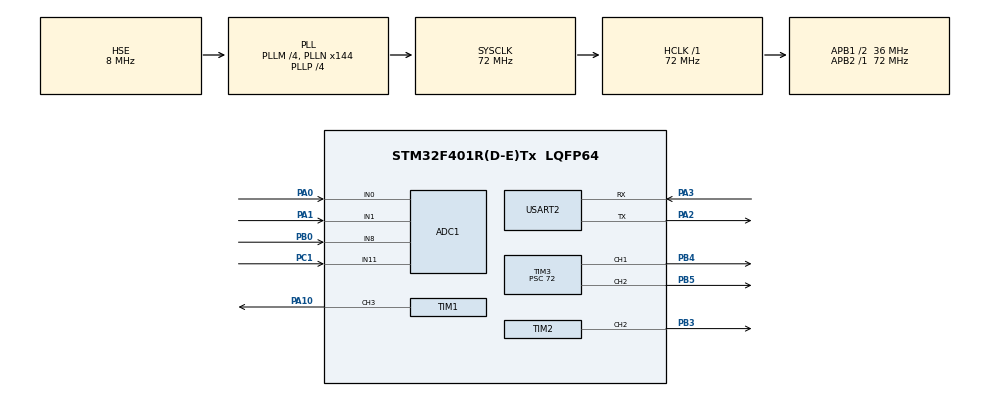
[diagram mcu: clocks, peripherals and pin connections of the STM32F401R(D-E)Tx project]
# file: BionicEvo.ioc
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ADC1.Channel-0\#ChannelRegularConversion=ADC_CHANNEL_0
ADC1.Channel-1\#ChannelRegularConversion=ADC_CHANNEL_1
ADC1.Channel-2\#ChannelRegularConversion=ADC_CHANNEL_8
ADC1.Channel-3\#ChannelRegularConversion=ADC_CHANNEL_11
ADC1.ContinuousConvMode=DISABLE
ADC1.NbrOfConversion=4
ADC1.NbrOfConversionFlag=1
ADC1.Rank-0\#ChannelRegularConversion=1
ADC1.Rank-1\#ChannelRegularConversion=2
ADC1.Rank-2\#ChannelRegularConversion=3
ADC1.Rank-3\#ChannelRegularConversion=4
ADC1.SamplingTime-0\#ChannelRegularConversion=ADC_SAMPLETIME_480CYCLES
ADC1.SamplingTime-1\#ChannelRegularConversion=ADC_SAMPLETIME_480CYCLES
ADC1.SamplingTime-2\#ChannelRegularConversion=ADC_SAMPLETIME_480CYCLES
ADC1.SamplingTime-3\#ChannelRegularConversion=ADC_SAMPLETIME_480CYCLES
ADC1.ScanConvMode=ENABLE
ADC1.master=1
Dma.ADC1.0.Direction=DMA_PERIPH_TO_MEMORY
Dma.ADC1.0.FIFOMode=DMA_FIFOMODE_DISABLE
Dma.ADC1.0.Instance=DMA2_Stream0
Dma.ADC1.0.MemDataAlignment=DMA_MDATAALIGN_HALFWORD
Dma.ADC1.0.MemInc=DMA_MINC_ENABLE
Dma.ADC1.0.Mode=DMA_CIRCULAR
Dma.ADC1.0.PeriphDataAlignment=DMA_PDATAALIGN_HALFWORD
Dma.ADC1.0.PeriphInc=DMA_PINC_DISABLE
Dma.ADC1.0.Priority=DMA_PRIORITY_LOW
Dma.Request0=ADC1
Mcu.Family=STM32F4
Mcu.Name=STM32F401R(D-E)Tx
Mcu.Package=LQFP64
NVIC.ADC_IRQn=true\:1\:0\:true\:false\:true\:true\:true\:true
NVIC.DMA2_Stream0_IRQn=true\:0\:0\:false\:false\:true\:false\:true\:true
NVIC.PriorityGroup=NVIC_PRIORITYGROUP_4
PA0-WKUP.Signal=ADCx_IN0
PA1.Signal=ADCx_IN1
PA10.Signal=S_TIM1_CH3
PA13.Mode=Serial_Wire
PA13.Signal=SYS_JTMS-SWDIO
PA14.Mode=Serial_Wire
PA14.Signal=SYS_JTCK-SWCLK
PA2.Mode=Asynchronous
PA2.Signal=USART2_TX
PA3.Mode=Asynchronous
PA3.Signal=USART2_RX
PB0.Signal=ADCx_IN8
PB3.Signal=S_TIM2_CH2
PB4.Signal=S_TIM3_CH1
PB5.Signal=S_TIM3_CH2
PC1.Signal=ADCx_IN11
PH0\ -\ OSC_IN.Mode=HSE-External-Oscillator
PH0\ -\ OSC_IN.Signal=RCC_OSC_IN
PH1\ -\ OSC_OUT.Mode=HSE-External-Oscillator
PH1\ -\ OSC_OUT.Signal=RCC_OSC_OUT
ProjectManager.HeapSize=0x200
ProjectManager.StackSize=0x400
ProjectManager.TargetToolchain=STM32CubeIDE
RCC.48MHZClocksFreq_Value=72000000
RCC.AHBFreq_Value=72000000
RCC.APB1CLKDivider=RCC_HCLK_DIV2
RCC.APB1Freq_Value=36000000
RCC.APB1TimFreq_Value=72000000
RCC.APB2Freq_Value=72000000
RCC.APB2TimFreq_Value=72000000
RCC.CortexFreq_Value=72000000
RCC.HCLKFreq_Value=72000000
RCC.HSE_VALUE=8000000
RCC.HSI_VALUE=16000000
RCC.LSE_VALUE=32768
RCC.PLLM=4
RCC.PLLN=144
RCC.PLLP=RCC_PLLP_DIV4
RCC.PLLSourceVirtual=RCC_PLLSOURCE_HSE
RCC.SYSCLKFreq_VALUE=72000000
RCC.SYSCLKSource=RCC_SYSCLKSOURCE_PLLCLK
RCC.VCOOutputFreq_Value=288000000
SH.ADCx_IN0.0=ADC1_IN0,IN0
SH.ADCx_IN1.0=ADC1_IN1,IN1
SH.ADCx_IN11.0=ADC1_IN11,IN11
SH.ADCx_IN8.0=ADC1_IN8,IN8
SH.S_TIM1_CH3.0=TIM1_CH3,PWM Generation3 CH3
SH.S_TIM2_CH2.0=TIM2_CH2,PWM Generation2 CH2
SH.S_TIM3_CH1.0=TIM3_CH1,PWM Generation1 CH1
SH.S_TIM3_CH2.0=TIM3_CH2,PWM Generation2 CH2
TIM1.AutoReloadPreload=TIM_AUTORELOAD_PRELOAD_ENABLE
TIM1.Channel-PWM\ Generation3\ CH3=TIM_CHANNEL_3
TIM1.Period=20000
TIM1.Prescaler=72
TIM2.AutoReloadPreload=TIM_AUTORELOAD_PRELOAD_ENABLE
TIM2.Channel-PWM\ Generation2\ CH2=TIM_CHANNEL_2
TIM2.Period=20000
TIM2.Prescaler=72
TIM3.AutoReloadPreload=TIM_AUTORELOAD_PRELOAD_ENABLE
TIM3.Channel-PWM\ Generation1\ CH1=TIM_CHANNEL_1
TIM3.Channel-PWM\ Generation2\ CH2=TIM_CHANNEL_2
TIM3.Period=20000
TIM3.Prescaler=72
USART2.VirtualMode=VM_ASYNC
VP_TIM1_VS_ClockSourceINT.Mode=Internal
VP_TIM2_VS_ClockSourceINT.Mode=Internal
VP_TIM3_VS_ClockSourceINT.Mode=Internal
board=custom

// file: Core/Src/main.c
/* USER CODE BEGIN Header */
/**
  ******************************************************************************
  * @file           : main.c
  * @brief          : Main program body
  ******************************************************************************
  * @attention
  *
  * Copyright (c) 2023 STMicroelectronics.
  * All rights reserved.
  *
  * This software is licensed under terms that can be found in the LICENSE file
  * in the root directory of this software component.
  * If no LICENSE file comes with this software, it is provided AS-IS.
  *
  ******************************************************************************
  */
/* USER CODE END Header */
#include "main.h"

/* USER CODE BEGIN Includes */
#include <stdio.h>
#include <string.h>
#include <stdbool.h>
/* USER CODE END Includes */

/* USER CODE BEGIN PD */
#define ADC_SIZE 4
#define NUM_PAST_VAL 10
/* USER CODE END PD */

ADC_HandleTypeDef hadc1;
DMA_HandleTypeDef hdma_adc1;

TIM_HandleTypeDef htim1;
TIM_HandleTypeDef htim2;
TIM_HandleTypeDef htim3;

UART_HandleTypeDef huart2;

/* USER CODE BEGIN PV */
const uint16_t BASE = 500;
const uint16_t INC = (2400 - BASE)/180;
uint16_t rawValues[ADC_SIZE];
uint16_t pastValues[ADC_SIZE][NUM_PAST_VAL];
char msg[64];
/* USER CODE END PV */

void SystemClock_Config(void);
static void MX_GPIO_Init(void);
static void MX_DMA_Init(void);
static void MX_TIM2_Init(void);
static void MX_TIM1_Init(void);
static void MX_TIM3_Init(void);
static void MX_ADC1_Init(void);
static void MX_USART2_UART_Init(void);
/* USER CODE BEGIN PFP */
uint8_t pot_serv_map(uint16_t);
uint16_t serv_angle(uint8_t);
void push_front(uint16_t[ADC_SIZE][NUM_PAST_VAL],uint16_t[ADC_SIZE],size_t,size_t);
void run(void);
void test(uint8_t);
void peace_sign();
/* USER CODE END PFP */

/* USER CODE BEGIN 0 */

/*
 * Callback override for HAL_ADC
 * Tells program that ADC conversion is complete
 */
bool convCompleted = 0;
void HAL_ADC_ConvCpltCallback(ADC_HandleTypeDef* hadc) {
	convCompleted = 1;
}

/*
 * @brief Maps potentiometer value (0-4095) to servo angle (0-180)
 * @param val potentiometer value
 * @retval int Servo angle
 */
uint8_t pot_serv_map(uint16_t val) {
	return val/4095.0*180;
}

/*
 * @brief Takes in an angle and returns a PWM vaue, Restricts angles to 0-180 for this use case
 * @param angle Desired servo angle
 * @retval int PWM value
 */
uint16_t serv_angle(uint8_t angle) {
	if (angle > 180) {
		angle = 180;
	} else if (angle < 40) {
		angle = 40;
	}

	return BASE + INC*angle;
}

/*
 * @brief Pushes values to front of array
 * @param arr The array to push to
 * @param val The array vals to push
 * @param size1 The first array size
 * @param size2 The second array size
 */
void push_front(uint16_t arr[ADC_SIZE][NUM_PAST_VAL], uint16_t val[ADC_SIZE], size_t size1, size_t size2) {
	for (size_t i = 0; i < ADC_SIZE; ++i) {
		for (size_t j = NUM_PAST_VAL-1; j > 0; --j) {
			arr[i][j] = arr[i][j-1];
		}
		arr[i][0] = val[i];
	}
}

void peace_sign() {
	__HAL_TIM_SET_COMPARE(&htim1,TIM_CHANNEL_3, serv_angle(180));
	__HAL_TIM_SET_COMPARE(&htim2,TIM_CHANNEL_2, serv_angle(0));
	__HAL_TIM_SET_COMPARE(&htim3,TIM_CHANNEL_2, serv_angle(0));
	__HAL_TIM_SET_COMPARE(&htim3,TIM_CHANNEL_1, serv_angle(180));
	HAL_Delay(2000);
}

/*
 * Testing function for demo tests
 */
void test(uint8_t runtime) {
	for (uint8_t i = 0; i < runtime; ++i) {
		__HAL_TIM_SET_COMPARE(&htim1,TIM_CHANNEL_3, serv_angle(0));
		__HAL_TIM_SET_COMPARE(&htim2,TIM_CHANNEL_2, serv_angle(0));
		__HAL_TIM_SET_COMPARE(&htim3,TIM_CHANNEL_2, serv_angle(0));
		__HAL_TIM_SET_COMPARE(&htim3,TIM_CHANNEL_1, serv_angle(0));
		HAL_Delay(1000);
		__HAL_TIM_SET_COMPARE(&htim1,TIM_CHANNEL_3, serv_angle(180));
		__HAL_TIM_SET_COMPARE(&htim2,TIM_CHANNEL_2, serv_angle(180));
		__HAL_TIM_SET_COMPARE(&htim3,TIM_CHANNEL_2, serv_angle(180));
		__HAL_TIM_SET_COMPARE(&htim3,TIM_CHANNEL_1, serv_angle(180));
		HAL_Delay(1000);
	}
}

/*
 * Main run function
 */
void run(void) {
	HAL_ADC_Start_DMA(&hadc1,(uint32_t *) rawValues, ADC_SIZE);
	while (!convCompleted);

	push_front(pastValues,rawValues,NUM_PAST_VAL,ADC_SIZE);

	uint16_t s[ADC_SIZE][2];
	for (uint8_t j = 0; j < ADC_SIZE; ++j) {
		for (uint8_t i = 0; i < 5; ++i) {
			s[j][0] += pastValues[j][i];
			s[j][1] += pastValues[j][i+5];
		}
		s[j][0] /= 5;
		s[j][1] /= 5;
	}

	if (s[0][1] - s[0][0] <= -69 && s[2][1] - s[2][0] <= -69) {
		peace_sign();
		for (uint8_t j = 0; j < NUM_PAST_VAL; ++j) {
			push_front(pastValues,rawValues,NUM_PAST_VAL,ADC_SIZE);
		}
	}

	__HAL_TIM_SET_COMPARE(&htim1,TIM_CHANNEL_3,serv_angle(pot_serv_map(rawValues[0])));
	__HAL_TIM_SET_COMPARE(&htim2,TIM_CHANNEL_2,serv_angle(pot_serv_map(rawValues[1])));
  	__HAL_TIM_SET_COMPARE(&htim3,TIM_CHANNEL_2,serv_angle(pot_serv_map(rawValues[2])));
  	__HAL_TIM_SET_COMPARE(&htim3,TIM_CHANNEL_1,serv_angle(pot_serv_map(rawValues[3])));

  	sprintf(msg,"%d %d %d %d\r\n", pastValues[0][0], pastValues[1][0], pastValues[2][0], pastValues[3][0]);
  	HAL_UART_Transmit(&huart2, (uint8_t *)msg, strlen(msg), HAL_MAX_DELAY);
  	HAL_Delay(100);
}

/*
 * Set all servos to the same angle
 */
void set_all_servs(uint8_t angle) {
	__HAL_TIM_SET_COMPARE(&htim1,TIM_CHANNEL_3,serv_angle(angle));
	__HAL_TIM_SET_COMPARE(&htim2,TIM_CHANNEL_2,serv_angle(angle));
	__HAL_TIM_SET_COMPARE(&htim3,TIM_CHANNEL_2,serv_angle(angle));
	__HAL_TIM_SET_COMPARE(&htim3,TIM_CHANNEL_1,serv_angle(angle));
}
/* USER CODE END 0 */

int main(void)
{

  /* MCU Configuration--------------------------------------------------------*/

  /* Reset of all peripherals, Initializes the Flash interface and the Systick. */
  HAL_Init();

  /* Configure the system clock */
  SystemClock_Config();

  /* Initialize all configured peripherals */
  MX_GPIO_Init();
  MX_DMA_Init();
  MX_TIM2_Init();
  MX_TIM1_Init();
  MX_TIM3_Init();
  MX_ADC1_Init();
  MX_USART2_UART_Init();
  /* USER CODE BEGIN 2 */

  sprintf(msg,"ADC1 INIT: Success\r\n");
  HAL_UART_Transmit(&huart2, (uint8_t *)msg, strlen(msg), HAL_MAX_DELAY);

  HAL_TIM_PWM_Start(&htim1, TIM_CHANNEL_3);
  sprintf(msg,"TIMER1, CHANNEL 3 PWM INIT: Success\r\n");
  HAL_UART_Transmit(&huart2, (uint8_t *)msg, strlen(msg), HAL_MAX_DELAY);

  HAL_TIM_PWM_Start(&htim2, TIM_CHANNEL_2);
  sprintf(msg,"TIMER2, CHANNEL 2 PWM INIT: Success\r\n");
  HAL_UART_Transmit(&huart2, (uint8_t *)msg, strlen(msg), HAL_MAX_DELAY);

  HAL_TIM_PWM_Start(&htim3, TIM_CHANNEL_2);
  sprintf(msg,"TIMER3, CHANNEL 2 PWM INIT: Success\r\n");
  HAL_UART_Transmit(&huart2, (uint8_t *)msg, strlen(msg), HAL_MAX_DELAY);

  HAL_TIM_PWM_Start(&htim3, TIM_CHANNEL_1);
  sprintf(msg,"TIMER3, CHANNEL 1 PWM INIT: Success\r\n");
  HAL_UART_Transmit(&huart2, (uint8_t *)msg, strlen(msg), HAL_MAX_DELAY);

  HAL_ADC_Start_DMA(&hadc1,(uint32_t *) rawValues, ADC_SIZE);
  for (uint8_t i = 0; i < NUM_PAST_VAL; ++i) {
	  push_front(pastValues,rawValues,NUM_PAST_VAL,ADC_SIZE);
  }
  sprintf(msg,"ADC INIT: Success\r\n");
  HAL_UART_Transmit(&huart2, (uint8_t *)msg, strlen(msg), HAL_MAX_DELAY);

  set_all_servs(180);
  /* USER CODE END 2 */

  /* Infinite loop */
  while (1) {

    /* USER CODE BEGIN 3 */
	  run();
//	  test(100);
//	  set_all_servs(0);
  }
  /* USER CODE END 3 */
}

void SystemClock_Config(void)
{
  RCC_OscInitTypeDef RCC_OscInitStruct = {0};
  RCC_ClkInitTypeDef RCC_ClkInitStruct = {0};

  /** Configure the main internal regulator output voltage
  */
  __HAL_RCC_PWR_CLK_ENABLE();
  __HAL_PWR_VOLTAGESCALING_CONFIG(PWR_REGULATOR_VOLTAGE_SCALE2);

  /** Initializes the RCC Oscillators according to the specified parameters
  * in the RCC_OscInitTypeDef structure.
  */
  RCC_OscInitStruct.OscillatorType = RCC_OSCILLATORTYPE_HSE;
  RCC_OscInitStruct.HSEState = RCC_HSE_ON;
  RCC_OscInitStruct.PLL.PLLState = RCC_PLL_ON;
  RCC_OscInitStruct.PLL.PLLSource = RCC_PLLSOURCE_HSE;
  RCC_OscInitStruct.PLL.PLLM = 4;
  RCC_OscInitStruct.PLL.PLLN = 144;
  RCC_OscInitStruct.PLL.PLLP = RCC_PLLP_DIV4;
  RCC_OscInitStruct.PLL.PLLQ = 4;
  if (HAL_RCC_OscConfig(&RCC_OscInitStruct) != HAL_OK)
  {
    Error_Handler();
  }

  /** Initializes the CPU, AHB and APB buses clocks
  */
  RCC_ClkInitStruct.ClockType = RCC_CLOCKTYPE_HCLK|RCC_CLOCKTYPE_SYSCLK
                              |RCC_CLOCKTYPE_PCLK1|RCC_CLOCKTYPE_PCLK2;
  RCC_ClkInitStruct.SYSCLKSource = RCC_SYSCLKSOURCE_PLLCLK;
  RCC_ClkInitStruct.AHBCLKDivider = RCC_SYSCLK_DIV1;
  RCC_ClkInitStruct.APB1CLKDivider = RCC_HCLK_DIV2;
  RCC_ClkInitStruct.APB2CLKDivider = RCC_HCLK_DIV1;

  if (HAL_RCC_ClockConfig(&RCC_ClkInitStruct, FLASH_LATENCY_2) != HAL_OK)
  {
    Error_Handler();
  }
}

static void MX_ADC1_Init(void)
{

  ADC_ChannelConfTypeDef sConfig = {0};

  /** Configure the global features of the ADC (Clock, Resolution, Data Alignment and number of conversion)
  */
  hadc1.Instance = ADC1;
  hadc1.Init.ClockPrescaler = ADC_CLOCK_SYNC_PCLK_DIV2;
  hadc1.Init.Resolution = ADC_RESOLUTION_12B;
  hadc1.Init.ScanConvMode = ENABLE;
  hadc1.Init.ContinuousConvMode = DISABLE;
  hadc1.Init.DiscontinuousConvMode = DISABLE;
  hadc1.Init.ExternalTrigConvEdge = ADC_EXTERNALTRIGCONVEDGE_NONE;
  hadc1.Init.ExternalTrigConv = ADC_SOFTWARE_START;
  hadc1.Init.DataAlign = ADC_DATAALIGN_RIGHT;
  hadc1.Init.NbrOfConversion = 4;
  hadc1.Init.DMAContinuousRequests = DISABLE;
  hadc1.Init.EOCSelection = ADC_EOC_SINGLE_CONV;
  if (HAL_ADC_Init(&hadc1) != HAL_OK)
  {
    Error_Handler();
  }

  /** Configure for the selected ADC regular channel its corresponding rank in the sequencer and its sample time.
  */
  sConfig.Channel = ADC_CHANNEL_0;
  sConfig.Rank = 1;
  sConfig.SamplingTime = ADC_SAMPLETIME_480CYCLES;
  if (HAL_ADC_ConfigChannel(&hadc1, &sConfig) != HAL_OK)
  {
    Error_Handler();
  }

  /** Configure for the selected ADC regular channel its corresponding rank in the sequencer and its sample time.
  */
  sConfig.Channel = ADC_CHANNEL_1;
  sConfig.Rank = 2;
  if (HAL_ADC_ConfigChannel(&hadc1, &sConfig) != HAL_OK)
  {
    Error_Handler();
  }

  /** Configure for the selected ADC regular channel its corresponding rank in the sequencer and its sample time.
  */
  sConfig.Channel = ADC_CHANNEL_8;
  sConfig.Rank = 3;
  if (HAL_ADC_ConfigChannel(&hadc1, &sConfig) != HAL_OK)
  {
    Error_Handler();
  }

  /** Configure for the selected ADC regular channel its corresponding rank in the sequencer and its sample time.
  */
  sConfig.Channel = ADC_CHANNEL_11;
  sConfig.Rank = 4;
  if (HAL_ADC_ConfigChannel(&hadc1, &sConfig) != HAL_OK)
  {
    Error_Handler();
  }

}

static void MX_TIM1_Init(void)
{

  TIM_ClockConfigTypeDef sClockSourceConfig = {0};
  TIM_MasterConfigTypeDef sMasterConfig = {0};
  TIM_OC_InitTypeDef sConfigOC = {0};
  TIM_BreakDeadTimeConfigTypeDef sBreakDeadTimeConfig = {0};

  htim1.Instance = TIM1;
  htim1.Init.Prescaler = 72;
  htim1.Init.CounterMode = TIM_COUNTERMODE_UP;
  htim1.Init.Period = 20000;
  htim1.Init.ClockDivision = TIM_CLOCKDIVISION_DIV1;
  htim1.Init.RepetitionCounter = 0;
  htim1.Init.AutoReloadPreload = TIM_AUTORELOAD_PRELOAD_ENABLE;
  if (HAL_TIM_Base_Init(&htim1) != HAL_OK)
  {
    Error_Handler();
  }
  sClockSourceConfig.ClockSource = TIM_CLOCKSOURCE_INTERNAL;
  if (HAL_TIM_ConfigClockSource(&htim1, &sClockSourceConfig) != HAL_OK)
  {
    Error_Handler();
  }
  if (HAL_TIM_PWM_Init(&htim1) != HAL_OK)
  {
    Error_Handler();
  }
  sMasterConfig.MasterOutputTrigger = TIM_TRGO_RESET;
  sMasterConfig.MasterSlaveMode = TIM_MASTERSLAVEMODE_DISABLE;
  if (HAL_TIMEx_MasterConfigSynchronization(&htim1, &sMasterConfig) != HAL_OK)
  {
    Error_Handler();
  }
  sConfigOC.OCMode = TIM_OCMODE_PWM1;
  sConfigOC.Pulse = 0;
  sConfigOC.OCPolarity = TIM_OCPOLARITY_HIGH;
  sConfigOC.OCNPolarity = TIM_OCNPOLARITY_HIGH;
  sConfigOC.OCFastMode = TIM_OCFAST_DISABLE;
  sConfigOC.OCIdleState = TIM_OCIDLESTATE_RESET;
  sConfigOC.OCNIdleState = TIM_OCNIDLESTATE_RESET;
  if (HAL_TIM_PWM_ConfigChannel(&htim1, &sConfigOC, TIM_CHANNEL_3) != HAL_OK)
  {
    Error_Handler();
  }
  sBreakDeadTimeConfig.OffStateRunMode = TIM_OSSR_DISABLE;
  sBreakDeadTimeConfig.OffStateIDLEMode = TIM_OSSI_DISABLE;
  sBreakDeadTimeConfig.LockLevel = TIM_LOCKLEVEL_OFF;
  sBreakDeadTimeConfig.DeadTime = 0;
  sBreakDeadTimeConfig.BreakState = TIM_BREAK_DISABLE;
  sBreakDeadTimeConfig.BreakPolarity = TIM_BREAKPOLARITY_HIGH;
  sBreakDeadTimeConfig.AutomaticOutput = TIM_AUTOMATICOUTPUT_DISABLE;
  if (HAL_TIMEx_ConfigBreakDeadTime(&htim1, &sBreakDeadTimeConfig) != HAL_OK)
  {
    Error_Handler();
  }
  HAL_TIM_MspPostInit(&htim1);

}

static void MX_TIM2_Init(void)
{

  TIM_ClockConfigTypeDef sClockSourceConfig = {0};
  TIM_MasterConfigTypeDef sMasterConfig = {0};
  TIM_OC_InitTypeDef sConfigOC = {0};

  htim2.Instance = TIM2;
  htim2.Init.Prescaler = 72;
  htim2.Init.CounterMode = TIM_COUNTERMODE_UP;
  htim2.Init.Period = 20000;
  htim2.Init.ClockDivision = TIM_CLOCKDIVISION_DIV1;
  htim2.Init.AutoReloadPreload = TIM_AUTORELOAD_PRELOAD_ENABLE;
  if (HAL_TIM_Base_Init(&htim2) != HAL_OK)
  {
    Error_Handler();
  }
  sClockSourceConfig.ClockSource = TIM_CLOCKSOURCE_INTERNAL;
  if (HAL_TIM_ConfigClockSource(&htim2, &sClockSourceConfig) != HAL_OK)
  {
    Error_Handler();
  }
  if (HAL_TIM_PWM_Init(&htim2) != HAL_OK)
  {
    Error_Handler();
  }
  sMasterConfig.MasterOutputTrigger = TIM_TRGO_RESET;
  sMasterConfig.MasterSlaveMode = TIM_MASTERSLAVEMODE_DISABLE;
  if (HAL_TIMEx_MasterConfigSynchronization(&htim2, &sMasterConfig) != HAL_OK)
  {
    Error_Handler();
  }
  sConfigOC.OCMode = TIM_OCMODE_PWM1;
  sConfigOC.Pulse = 0;
  sConfigOC.OCPolarity = TIM_OCPOLARITY_HIGH;
  sConfigOC.OCFastMode = TIM_OCFAST_DISABLE;
  if (HAL_TIM_PWM_ConfigChannel(&htim2, &sConfigOC, TIM_CHANNEL_2) != HAL_OK)
  {
    Error_Handler();
  }
  HAL_TIM_MspPostInit(&htim2);

}

static void MX_TIM3_Init(void)
{

  TIM_ClockConfigTypeDef sClockSourceConfig = {0};
  TIM_MasterConfigTypeDef sMasterConfig = {0};
  TIM_OC_InitTypeDef sConfigOC = {0};

  htim3.Instance = TIM3;
  htim3.Init.Prescaler = 72;
  htim3.Init.CounterMode = TIM_COUNTERMODE_UP;
  htim3.Init.Period = 20000;
  htim3.Init.ClockDivision = TIM_CLOCKDIVISION_DIV1;
  htim3.Init.AutoReloadPreload = TIM_AUTORELOAD_PRELOAD_ENABLE;
  if (HAL_TIM_Base_Init(&htim3) != HAL_OK)
  {
    Error_Handler();
  }
  sClockSourceConfig.ClockSource = TIM_CLOCKSOURCE_INTERNAL;
  if (HAL_TIM_ConfigClockSource(&htim3, &sClockSourceConfig) != HAL_OK)
  {
    Error_Handler();
  }
  if (HAL_TIM_PWM_Init(&htim3) != HAL_OK)
  {
    Error_Handler();
  }
  sMasterConfig.MasterOutputTrigger = TIM_TRGO_RESET;
  sMasterConfig.MasterSlaveMode = TIM_MASTERSLAVEMODE_DISABLE;
  if (HAL_TIMEx_MasterConfigSynchronization(&htim3, &sMasterConfig) != HAL_OK)
  {
    Error_Handler();
  }
  sConfigOC.OCMode = TIM_OCMODE_PWM1;
  sConfigOC.Pulse = 0;
  sConfigOC.OCPolarity = TIM_OCPOLARITY_HIGH;
  sConfigOC.OCFastMode = TIM_OCFAST_DISABLE;
  if (HAL_TIM_PWM_ConfigChannel(&htim3, &sConfigOC, TIM_CHANNEL_1) != HAL_OK)
  {
    Error_Handler();
  }
  if (HAL_TIM_PWM_ConfigChannel(&htim3, &sConfigOC, TIM_CHANNEL_2) != HAL_OK)
  {
    Error_Handler();
  }
  HAL_TIM_MspPostInit(&htim3);

}

static void MX_USART2_UART_Init(void)
{

  huart2.Instance = USART2;
  huart2.Init.BaudRate = 115200;
  huart2.Init.WordLength = UART_WORDLENGTH_8B;
  huart2.Init.StopBits = UART_STOPBITS_1;
  huart2.Init.Parity = UART_PARITY_NONE;
  huart2.Init.Mode = UART_MODE_TX_RX;
  huart2.Init.HwFlowCtl = UART_HWCONTROL_NONE;
  huart2.Init.OverSampling = UART_OVERSAMPLING_16;
  if (HAL_UART_Init(&huart2) != HAL_OK)
  {
    Error_Handler();
  }

}

static void MX_DMA_Init(void)
{

  /* DMA controller clock enable */
  __HAL_RCC_DMA2_CLK_ENABLE();

  /* DMA interrupt init */
  /* DMA2_Stream0_IRQn interrupt configuration */
  HAL_NVIC_SetPriority(DMA2_Stream0_IRQn, 0, 0);
  HAL_NVIC_EnableIRQ(DMA2_Stream0_IRQn);

}

static void MX_GPIO_Init(void)
{

  /* GPIO Ports Clock Enable */
  __HAL_RCC_GPIOH_CLK_ENABLE();
  __HAL_RCC_GPIOC_CLK_ENABLE();
  __HAL_RCC_GPIOA_CLK_ENABLE();
  __HAL_RCC_GPIOB_CLK_ENABLE();

}

void Error_Handler(void)
{
  __disable_irq();
  while (1)
  {
  }
}
